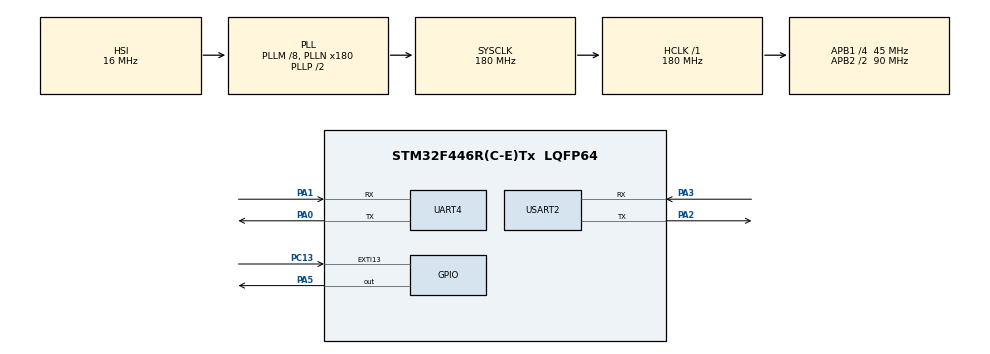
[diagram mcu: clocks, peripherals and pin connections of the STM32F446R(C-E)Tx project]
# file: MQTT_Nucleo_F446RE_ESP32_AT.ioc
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Dma.Request0=UART4_RX
Dma.UART4_RX.0.Direction=DMA_PERIPH_TO_MEMORY
Dma.UART4_RX.0.FIFOMode=DMA_FIFOMODE_DISABLE
Dma.UART4_RX.0.Instance=DMA1_Stream2
Dma.UART4_RX.0.MemDataAlignment=DMA_MDATAALIGN_BYTE
Dma.UART4_RX.0.MemInc=DMA_MINC_ENABLE
Dma.UART4_RX.0.Mode=DMA_CIRCULAR
Dma.UART4_RX.0.PeriphDataAlignment=DMA_PDATAALIGN_BYTE
Dma.UART4_RX.0.PeriphInc=DMA_PINC_DISABLE
Dma.UART4_RX.0.Priority=DMA_PRIORITY_LOW
Mcu.Family=STM32F4
Mcu.Name=STM32F446R(C-E)Tx
Mcu.Package=LQFP64
NVIC.DMA1_Stream2_IRQn=true\:0\:0\:false\:false\:true\:false\:true\:true
NVIC.EXTI15_10_IRQn=true\:5\:0\:false\:false\:true\:true\:true\:true
NVIC.PriorityGroup=NVIC_PRIORITYGROUP_4
NVIC.TIM6_DAC_IRQn=true\:15\:0\:false\:false\:true\:false\:true\:true
NVIC.TimeBase=TIM6_DAC_IRQn
NVIC.TimeBaseIP=TIM6
NVIC.UART4_IRQn=true\:0\:0\:false\:false\:true\:true\:true\:true
PA0-WKUP.Mode=Asynchronous
PA0-WKUP.Signal=UART4_TX
PA1.Mode=Asynchronous
PA1.Signal=UART4_RX
PA2.Mode=Asynchronous
PA2.Signal=USART2_TX
PA3.Mode=Asynchronous
PA3.Signal=USART2_RX
PA5.Signal=GPIO_Output
PA5.TagName=LD1
PC13.Signal=GPXTI13
PC13.TagName=BUTTON
ProjectManager.HeapSize=0x200
ProjectManager.StackSize=0x400
ProjectManager.TargetToolchain=STM32CubeIDE
RCC.AHBFreq_Value=180000000
RCC.APB1CLKDivider=RCC_HCLK_DIV4
RCC.APB1Freq_Value=45000000
RCC.APB1TimFreq_Value=90000000
RCC.APB2CLKDivider=RCC_HCLK_DIV2
RCC.APB2Freq_Value=90000000
RCC.APB2TimFreq_Value=180000000
RCC.CortexFreq_Value=180000000
RCC.FLatency-AdvancedSettings=FLASH_LATENCY_5
RCC.HCLKFreq_Value=180000000
RCC.HSE_VALUE=8000000
RCC.HSI_VALUE=16000000
RCC.LSE_VALUE=32768
RCC.PLLM=8
RCC.PLLN=180
RCC.SYSCLKFreq_VALUE=180000000
RCC.SYSCLKSource=RCC_SYSCLKSOURCE_PLLCLK
RCC.USBFreq_Value=180000000
RCC.VCOOutputFreq_Value=360000000
UART4.VirtualMode=Asynchronous
USART2.VirtualMode=VM_ASYNC
VP_SYS_VS_tim6.Mode=TIM6
board=NUCLEO-F446RE

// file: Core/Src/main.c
/* USER CODE BEGIN Header */
/**
  ******************************************************************************
  * @file           : main.c
  * @brief          : Main program body
  ******************************************************************************
  * @attention
  *
  * Copyright (c) 2026 STMicroelectronics.
  * All rights reserved.
  *
  * This software is licensed under terms that can be found in the LICENSE file
  * in the root directory of this software component.
  * If no LICENSE file comes with this software, it is provided AS-IS.
  *
  ******************************************************************************
  */
/* USER CODE END Header */
#include "main.h"

/* USER CODE BEGIN Includes */
#include <stdio.h>
#include <string.h>
#include "FreeRTOS.h"
#include "task.h"
#include "queue.h"
#include "esp32_at.h"
#include "esp32_at_io.h"
#include "mqtt_helper.h"
#include "mqtt_queue.h"
#include "application_config.h"
#include "jobs.h"
#include "ota_application.h"

/* USER CODE END Includes */

UART_HandleTypeDef huart4;
UART_HandleTypeDef huart2;
DMA_HandleTypeDef hdma_uart4_rx;

/* USER CODE BEGIN PV */
/* xTaskCreate stack depth is in StackType_t words: 2048 = 8192 bytes. */
#define MQTT_TASK_STACK_DEPTH 2048U
#define OTA_TASK_STACK_DEPTH 1024U
static QueueHandle_t mqtt_tx_queue;
static QueueHandle_t mqtt_rx_queue;
static TaskHandle_t mqtt_publisher_handle;
static TaskHandle_t at_dispatcher_handle;
/* The notification handshake transfers this snapshot to the publisher. */
static sntp_time_t publish_timestamp;
static esp32_status_t publish_time_status;
static volatile uint32_t pending_interrupts;
static uint32_t count;

/* USER CODE END PV */

void SystemClock_Config(void);
static void MX_GPIO_Init(void);
static void MX_DMA_Init(void);
static void MX_UART4_Init(void);
static void MX_USART2_UART_Init(void);
/* USER CODE BEGIN PFP */
static void mqtt_publish_task(void *argument);
static void mqtt_recieve_task(void *argument);
static void AT_cmd_dispatcher_task(void *argument);
static void ota_task(void *argument);
/* USER CODE END PFP */

/* USER CODE BEGIN 0 */
int __io_putchar(int ch)
{
  uint8_t byte = (uint8_t)ch;
  if (HAL_UART_Transmit(&huart2, &byte, 1, HAL_MAX_DELAY) != HAL_OK)
  {
    return EOF;
  }
  return ch;
}

/* USER CODE END 0 */

int main(void)
{

  /* MCU Configuration--------------------------------------------------------*/

  /* Reset of all peripherals, Initializes the Flash interface and the Systick. */
  HAL_Init();

  /* Configure the system clock */
  SystemClock_Config();

  /* Initialize all configured peripherals */
  MX_GPIO_Init();
  MX_DMA_Init();
  MX_UART4_Init();
  MX_USART2_UART_Init();
  /* USER CODE BEGIN 2 */
  setvbuf(stdout, NULL, _IONBF, 0);
  printf("Application running ...\r\n");
  esp32_status_t esp_status = esp32_init();
#ifndef USE_OTA
  /* Initialize UART DMA before requesting the module's version. */
  static char firmware_version[1024];
  esp32_status_t version_status = esp32_get_firmware_version(
      firmware_version, sizeof(firmware_version));
  if (version_status == ESP32_OK)
  {
    printf("ESP-AT firmware version:\r\n%s", firmware_version);
  }
  else
  {
    printf("ESP-AT firmware version query failed (status=%d)\r\n",
           (int)version_status);
  }
  printf("esp32_init: %s (status=%d)\r\n",
         esp_status == ESP32_OK ? "succeeded" : "failed", (int)esp_status);

  esp_status = esp32_join_ap((uint8_t *)WIFI_SSID, (uint8_t *)WIFI_PASSWORD);
  printf("esp32_join_ap: %s (status=%d)\r\n",
         esp_status == ESP32_OK ? "succeeded" : "failed", (int)esp_status);

  esp_status = esp32_config_sntp(UTC_OFFSET);
  printf("esp32_config_sntp: %s (status=%d)\r\n",
         esp_status == ESP32_OK ? "succeeded" : "failed", (int)esp_status);

  mqtt_status_t mqtt_status = mqtt_connect(CLIENT_ID, MQTT_BROKER, MQTT_PORT);
  printf("mqtt_connect: %s (status=%d)\r\n",
         mqtt_status == MQTT_SUCCESS ? "succeeded" : "failed", (int)mqtt_status);
#else
  printf("Already connected to MQTT broker..");
#endif
  mqtt_tx_queue = xQueueCreate(5, sizeof(mqtt_queue_item_t));
  mqtt_rx_queue = xQueueCreate(5, sizeof(mqtt_queue_item_t));
  if (mqtt_tx_queue == NULL || mqtt_rx_queue == NULL ||
      xTaskCreate(mqtt_publish_task, "mqtt_publish_task", MQTT_TASK_STACK_DEPTH,
                  NULL, tskIDLE_PRIORITY + 2, &mqtt_publisher_handle) != pdPASS ||
      xTaskCreate(mqtt_recieve_task, "mqtt_recieve_task", MQTT_TASK_STACK_DEPTH,
                  NULL, tskIDLE_PRIORITY + 2, NULL) != pdPASS ||
      xTaskCreate(AT_cmd_dispatcher_task, "AT_cmd_dispatcher_task", MQTT_TASK_STACK_DEPTH,
                  NULL, tskIDLE_PRIORITY + 1, &at_dispatcher_handle) != pdPASS)
  {
    printf("MQTT task creation failed\r\n");
    Error_Handler();
  }
  if (xTaskCreate(ota_task, "ota_start", OTA_TASK_STACK_DEPTH,
                  NULL, tskIDLE_PRIORITY + 2, NULL) != pdPASS)
  {
    printf("OTA task creation failed\r\n");
    Error_Handler();
  }
  vTaskStartScheduler();
  Error_Handler(); /* Scheduler returns only if it cannot start. */

  /* USER CODE END 2 */

  /* Infinite loop */
  while (1)
  {

  }
}

void SystemClock_Config(void)
{
  RCC_OscInitTypeDef RCC_OscInitStruct = {0};
  RCC_ClkInitTypeDef RCC_ClkInitStruct = {0};

  /** Configure the main internal regulator output voltage
  */
  __HAL_RCC_PWR_CLK_ENABLE();
  __HAL_PWR_VOLTAGESCALING_CONFIG(PWR_REGULATOR_VOLTAGE_SCALE1);

  /** Initializes the RCC Oscillators according to the specified parameters
  * in the RCC_OscInitTypeDef structure.
  */
  RCC_OscInitStruct.OscillatorType = RCC_OSCILLATORTYPE_HSI;
  RCC_OscInitStruct.HSIState = RCC_HSI_ON;
  RCC_OscInitStruct.HSICalibrationValue = RCC_HSICALIBRATION_DEFAULT;
  RCC_OscInitStruct.PLL.PLLState = RCC_PLL_ON;
  RCC_OscInitStruct.PLL.PLLSource = RCC_PLLSOURCE_HSI;
  RCC_OscInitStruct.PLL.PLLM = 8;
  RCC_OscInitStruct.PLL.PLLN = 180;
  RCC_OscInitStruct.PLL.PLLP = RCC_PLLP_DIV2;
  RCC_OscInitStruct.PLL.PLLQ = 2;
  RCC_OscInitStruct.PLL.PLLR = 2;
  if (HAL_RCC_OscConfig(&RCC_OscInitStruct) != HAL_OK)
  {
    Error_Handler();
  }

  /** Activate the Over-Drive mode
  */
  if (HAL_PWREx_EnableOverDrive() != HAL_OK)
  {
    Error_Handler();
  }

  /** Initializes the CPU, AHB and APB buses clocks
  */
  RCC_ClkInitStruct.ClockType = RCC_CLOCKTYPE_HCLK|RCC_CLOCKTYPE_SYSCLK
                              |RCC_CLOCKTYPE_PCLK1|RCC_CLOCKTYPE_PCLK2;
  RCC_ClkInitStruct.SYSCLKSource = RCC_SYSCLKSOURCE_PLLCLK;
  RCC_ClkInitStruct.AHBCLKDivider = RCC_SYSCLK_DIV1;
  RCC_ClkInitStruct.APB1CLKDivider = RCC_HCLK_DIV4;
  RCC_ClkInitStruct.APB2CLKDivider = RCC_HCLK_DIV2;

  if (HAL_RCC_ClockConfig(&RCC_ClkInitStruct, FLASH_LATENCY_5) != HAL_OK)
  {
    Error_Handler();
  }
}

static void MX_UART4_Init(void)
{

  huart4.Instance = UART4;
  huart4.Init.BaudRate = 115200;
  huart4.Init.WordLength = UART_WORDLENGTH_8B;
  huart4.Init.StopBits = UART_STOPBITS_1;
  huart4.Init.Parity = UART_PARITY_NONE;
  huart4.Init.Mode = UART_MODE_TX_RX;
  huart4.Init.HwFlowCtl = UART_HWCONTROL_NONE;
  huart4.Init.OverSampling = UART_OVERSAMPLING_16;
  if (HAL_UART_Init(&huart4) != HAL_OK)
  {
    Error_Handler();
  }

}

static void MX_USART2_UART_Init(void)
{

  huart2.Instance = USART2;
  huart2.Init.BaudRate = 115200;
  huart2.Init.WordLength = UART_WORDLENGTH_8B;
  huart2.Init.StopBits = UART_STOPBITS_1;
  huart2.Init.Parity = UART_PARITY_NONE;
  huart2.Init.Mode = UART_MODE_TX_RX;
  huart2.Init.HwFlowCtl = UART_HWCONTROL_NONE;
  huart2.Init.OverSampling = UART_OVERSAMPLING_16;
  if (HAL_UART_Init(&huart2) != HAL_OK)
  {
    Error_Handler();
  }

}

static void MX_DMA_Init(void)
{

  /* DMA controller clock enable */
  __HAL_RCC_DMA1_CLK_ENABLE();

  /* DMA interrupt init */
  /* DMA1_Stream2_IRQn interrupt configuration */
  HAL_NVIC_SetPriority(DMA1_Stream2_IRQn, 0, 0);
  HAL_NVIC_EnableIRQ(DMA1_Stream2_IRQn);

}

static void MX_GPIO_Init(void)
{
  GPIO_InitTypeDef GPIO_InitStruct = {0};

  /* GPIO Ports Clock Enable */
  __HAL_RCC_GPIOC_CLK_ENABLE();
  __HAL_RCC_GPIOA_CLK_ENABLE();

  /*Configure GPIO pin Output Level */
  HAL_GPIO_WritePin(GPIOA, GPIO_PIN_5, GPIO_PIN_RESET);

  /*Configure GPIO pin : PC13 */
  GPIO_InitStruct.Pin = GPIO_PIN_13;
  GPIO_InitStruct.Mode = GPIO_MODE_IT_RISING;
  GPIO_InitStruct.Pull = GPIO_NOPULL;
  HAL_GPIO_Init(GPIOC, &GPIO_InitStruct);

  /*Configure GPIO pin : PA5 */
  GPIO_InitStruct.Pin = GPIO_PIN_5;
  GPIO_InitStruct.Mode = GPIO_MODE_OUTPUT_PP;
  GPIO_InitStruct.Pull = GPIO_NOPULL;
  GPIO_InitStruct.Speed = GPIO_SPEED_FREQ_LOW;
  HAL_GPIO_Init(GPIOA, &GPIO_InitStruct);

  /* EXTI interrupt init*/
  HAL_NVIC_SetPriority(EXTI15_10_IRQn, 5, 0);
  HAL_NVIC_EnableIRQ(EXTI15_10_IRQn);

}

/* USER CODE BEGIN 4 */
void HAL_GPIO_EXTI_Callback(uint16_t GPIO_Pin)
{
  if (GPIO_Pin == GPIO_PIN_13 && pending_interrupts != UINT32_MAX)
  {
    ++pending_interrupts;
  }
}

static unsigned int mqtt_month_number(const char *month)
{
  static const char * const months[] = {
    "Jan", "Feb", "Mar", "Apr", "May", "Jun",
    "Jul", "Aug", "Sep", "Oct", "Nov", "Dec"
  };
  for (unsigned int i = 0; i < 12; ++i)
  {
    if (strcmp(month, months[i]) == 0) return i + 1;
  }
  return 0;
}

static void mqtt_publish_task(void *argument)
{
  (void)argument;
  for (;;)
  {
    uint32_t interrupt_occurred = 0;
    /* EXTI priority 5 is masked by this critical section. Keep queued events. */
    taskENTER_CRITICAL();
    if (pending_interrupts > 0)
    {
      pending_interrupts = 0;
      interrupt_occurred = 1;
    }
    taskEXIT_CRITICAL();

    if (interrupt_occurred)
    {
      mqtt_queue_item_t item = {
        .operation = MQTT_OPERATION_PUBLISH,
        .topic = SENSOR_DATA_BUTTON_PRESS_TOPIC,
        .topic_length = sizeof(SENSOR_DATA_BUTTON_PRESS_TOPIC) - 1
      };
      ++count;
      /* Only the dispatcher may query the ESP32, including its SNTP clock. */
      xTaskNotifyGive(at_dispatcher_handle);
      ulTaskNotifyTake(pdTRUE, portMAX_DELAY);
      sntp_time_t timestamp = publish_timestamp;
      esp32_status_t time_status = publish_time_status;
      unsigned int month = mqtt_month_number(timestamp.month);
      if (time_status == ESP32_OK && month != 0 &&
          timestamp.year >= 2020 && timestamp.year <= 9999 &&
          timestamp.date >= 1 && timestamp.date <= 31 &&
          timestamp.hour >= 0 && timestamp.hour <= 23 &&
          timestamp.min >= 0 && timestamp.min <= 59 &&
          timestamp.sec >= 0 && timestamp.sec <= 59)
      {
        int length = snprintf((char *)item.payload, sizeof(item.payload),
            "{\"count\":%lu,\"time\":\"%02d:%02d:%02d\","
            "\"date\":\"%04d-%02u-%02d\"}",
            (unsigned long)count, timestamp.hour, timestamp.min, timestamp.sec,
            timestamp.year, month, timestamp.date);
        if (length > 0 && (size_t)length < sizeof(item.payload))
        {
          item.payload_length = (size_t)length;
          xQueueSend(mqtt_tx_queue, &item, portMAX_DELAY);
        }
        else
        {
          printf("MQTT publish failed: JSON buffer too small\r\n");
        }
      }
      else
      {
        printf("MQTT publish failed: valid SNTP date/time unavailable\r\n");
      }
    }
    vTaskDelay(pdMS_TO_TICKS(5000));
  }
}

static void mqtt_recieve_task(void *argument)
{
  (void)argument;
  mqtt_queue_item_t item = {
    .operation = MQTT_OPERATION_SUBSCRIBE,
    .topic = SENSOR_DATA_LED_STATE_TOPIC,
    .topic_length = sizeof(SENSOR_DATA_LED_STATE_TOPIC) - 1
  };
  xQueueSend(mqtt_tx_queue, &item, portMAX_DELAY);
  for (;;)
  {
    if (xQueueReceive(mqtt_rx_queue, &item, pdMS_TO_TICKS(1000)) == pdPASS &&
        item.operation == MQTT_OPERATION_RECIEVE)
    {
      printf("MQTT topic: %.*s\r\n", (int)item.topic_length, item.topic);
      printf("MQTT payload: ");
      fwrite(item.payload, 1, item.payload_length, stdout);
      printf("\r\n");

      (void)ota_handle_incoming_mqtt_message(item.topic, item.topic_length,
                                             (char *)item.payload, item.payload_length);
    }
    ota_poll();
  }
}

static void AT_cmd_dispatcher_task(void *argument)
{
  (void)argument;
  static char topic_buffer[MAX_MQTT_TOPIC_SIZE];
  static char payload_buffer[MAX_MQTT_PAYLOAD_SIZE];
  mqtt_queue_item_t item;
  mqtt_queue_item_t new_message;

  /* Transfer AT UART ownership after the unchanged startup connection. */
  esp32_io_claim_owner();
  for (;;)
  {
    if (ulTaskNotifyTake(pdTRUE, 0) != 0)
    {
      publish_time_status = esp32_get_sntp_time(&publish_timestamp);
      xTaskNotifyGive(mqtt_publisher_handle);
    }

    if (xQueueReceive(mqtt_tx_queue, &item, 0) == pdPASS)
    {
      mqtt_status_t status = MQTT_ERROR;
      if (item.operation == MQTT_OPERATION_PUBLISH)
      {
        status = mqtt_publish(item.topic, item.topic_length,
                                            item.payload, item.payload_length);
        printf("MQTT publish %s (status=%d)\r\n",
               status == MQTT_SUCCESS ? "succeeded" : "failed", (int)status);
      }
      else if (item.operation == MQTT_OPERATION_SUBSCRIBE)
      {
    	printf("Topic:%s,%u\r\n",item.topic,item.topic_length);
        status = mqtt_subscribe(item.topic, item.topic_length);
        printf("MQTT subscribe %s (status=%d)\r\n",
               status == MQTT_SUCCESS ? "succeeded" : "failed", (int)status);
      }
      if (item.completion_task != NULL)
        xTaskNotify(item.completion_task, status == MQTT_SUCCESS ? 1U : 2U,
                    eSetValueWithOverwrite);
    }

    /* Reset capacities on every call; the API replaces them with lengths.
     * ESP32_OK is zero, so test the status explicitly rather than as a bool. */
    mqtt_receive_t mqtt_data = {
      .p_topic = topic_buffer,
      .topic_length = sizeof(topic_buffer),
      .p_payload = payload_buffer,
      .payload_length = sizeof(payload_buffer)
    };
    if (esp32_recv_mqtt_data(&mqtt_data) == ESP32_OK &&
        mqtt_data.payload_length > 0)
    {
      new_message = (mqtt_queue_item_t){.operation = MQTT_OPERATION_RECIEVE};
      new_message.topic_length = mqtt_data.topic_length;
      new_message.payload_length = mqtt_data.payload_length;
      memcpy(new_message.topic, mqtt_data.p_topic, mqtt_data.topic_length);
      memcpy(new_message.payload, mqtt_data.p_payload, mqtt_data.payload_length);
      if (xQueueSend(mqtt_rx_queue, &new_message, 0) != pdPASS)
        printf("MQTT receive dropped: RX queue full\r\n");
    }
    vTaskDelay(pdMS_TO_TICKS(10));
  }
}

/* Callers remain alive until the dispatcher has consumed their task handle. */
bool mqtt_dispatch_sync(mqtt_queue_item_t *item)
{
  uint32_t result = 0;
  if (item == NULL || item->topic_length == 0 ||
      item->topic_length >= sizeof(item->topic) ||
      item->payload_length > sizeof(item->payload)) return false;
  item->topic[item->topic_length] = '\0';
  item->completion_task = xTaskGetCurrentTaskHandle();
  if (xQueueSend(mqtt_tx_queue, item, pdMS_TO_TICKS(5000)) != pdPASS)
    return false;
  return xTaskNotifyWait(0, UINT32_MAX, &result, portMAX_DELAY) == pdTRUE &&
         result == 1U;
}
static void ota_task(void *argument)
{
	(void)argument;
	if(ota_start() == OTA_SUCCESS)
	{
		printf("Jobs start-next request published; awaiting server response\r\n");
	}
	else
	{
		printf("Jobs start-next request failed\r\n");
	}
	vTaskDelete(NULL);
}

/* USER CODE END 4 */

void HAL_TIM_PeriodElapsedCallback(TIM_HandleTypeDef *htim)
{
  if (htim->Instance == TIM6)
  {
    HAL_IncTick();
  }
}

void Error_Handler(void)
{
  __disable_irq();
  while (1)
  {
  }
}
